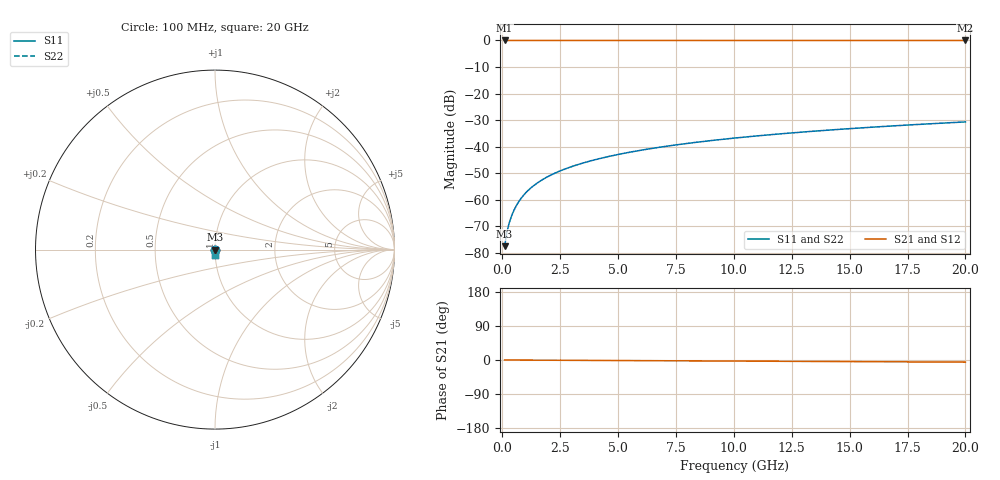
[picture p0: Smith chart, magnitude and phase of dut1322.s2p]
! Touchstone file exported from HFSS 2026.1.0
!  File:  C:/ffzhzh/LocalFiles/Ansys_Project_Files/temp_train_TSV_1322_1783195180_18472.aedt
!  Generated:  04:00:55 AM Jul  5, 2026
!  Design:  TSV
!  Project:  temp_train_TSV_1322_1783195180_18472
! Variables:
!  h_bsmrdl = 2um
!  h_ox = 20um
!  h_rdl = 5um
!  h_sub = 52.73um
!  h_tmrdl = 5um
!  h_tsv = 52.73um
!  h_via = 3um
!  l_bsmrdl = 300um
!  l_sub = 426.52um
!  l_tmrdl = 200um
!  m_sub = 200um
!  pitch = 40.48um
!  r_tsv = 13.26um
!  s_tmrdl = 10um
!  w_bsmrdl = 18um
!  w_sub = 500um
!  w_tmrdl = 12um
!  x_tsv_center1 = 206um
!  x_tsv_center2 = 524um
!  x_tsv_center3 = 736um
!  x_tsv_center4 = 1054um
!  x_tsv_center5 = 1266um
!  x_tsv_center6 = 1584um
# GHz S MA R 50.000000
! Terminal data exported
! Port[1] = TSV1_1_T1
! Port[2] = TSV1_1_T2
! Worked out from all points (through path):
!   200 points, 100 MHz to 20 GHz, reference 50 ohm
!   highest |S21| = 0.00 dB at 100 MHz (marker M1); lowest = 0.0 dB at 20 GHz (marker M2)
!   lowest |S11| = -77.5 dB at 100 MHz (marker M3), VSWR 1.00, Z = 50 - j0.0114 ohm
!   |S11| at or under -10 dB: start of sweep to end of sweep
!   |S22| runs from -77.5 to -30.7 dB; largest |S21 - S12| = 1e-15
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0.1  0.0001326 -59.6  0.9999 -0.0  0.9999 -0.0  0.0001326 -59.6
! Gamma 0 0 0 0
! Port Impedance 50 0 50 0
0.2  0.0002439 -71.6  0.9999 -0.1  0.9999 -0.1  0.0002439 -71.6
0.3  0.0003646 -75.5  0.9999 -0.1  0.9999 -0.1  0.0003646 -75.5
0.4  0.0004917 -77.3  0.9999 -0.1  0.9999 -0.1  0.0004917 -77.3
0.5  0.000624 -78.4  0.9999 -0.1  0.9999 -0.1  0.000624 -78.4
0.7  0.0008991 -80.0  0.9998 -0.2  0.9998 -0.2  0.0008991 -80.0
0.8  0.00104 -80.6  0.9998 -0.2  0.9998 -0.2  0.00104 -80.6
1  0.001325 -81.7  0.9998 -0.3  0.9998 -0.3  0.001325 -81.7
1.2  0.001612 -82.6  0.9998 -0.3  0.9998 -0.3  0.001612 -82.6
1.4  0.001899 -83.4  0.9998 -0.4  0.9998 -0.4  0.001899 -83.4
1.7  0.002331 -84.3  0.9997 -0.5  0.9997 -0.5  0.002331 -84.3
2  0.002762 -85.0  0.9997 -0.6  0.9997 -0.6  0.002762 -85.0
2.7  0.003767 -86.2  0.9997 -0.8  0.9997 -0.8  0.003767 -86.2
3.5  0.004919 -87.0  0.9996 -1.0  0.9996 -1.0  0.004919 -87.0
4.2  0.005931 -87.6  0.9996 -1.2  0.9996 -1.2  0.005931 -87.6
5  0.007093 -88.1  0.9996 -1.4  0.9996 -1.4  0.007093 -88.1
6.8  0.009719 -89.1  0.9995 -1.9  0.9995 -1.9  0.009719 -89.1
8.3  0.01192 -89.8  0.9994 -2.4  0.9994 -2.4  0.01192 -89.8
10.1  0.01456 -90.6  0.9993 -2.9  0.9993 -2.9  0.01456 -90.6
13.4  0.01942 -91.8  0.9991 -3.8  0.9991 -3.8  0.01942 -91.8
16.7  0.02428 -93.0  0.999 -4.7  0.999 -4.7  0.02428 -93.0
20  0.02914 -94.0  0.9987 -5.6  0.9987 -5.6  0.02914 -94.0
